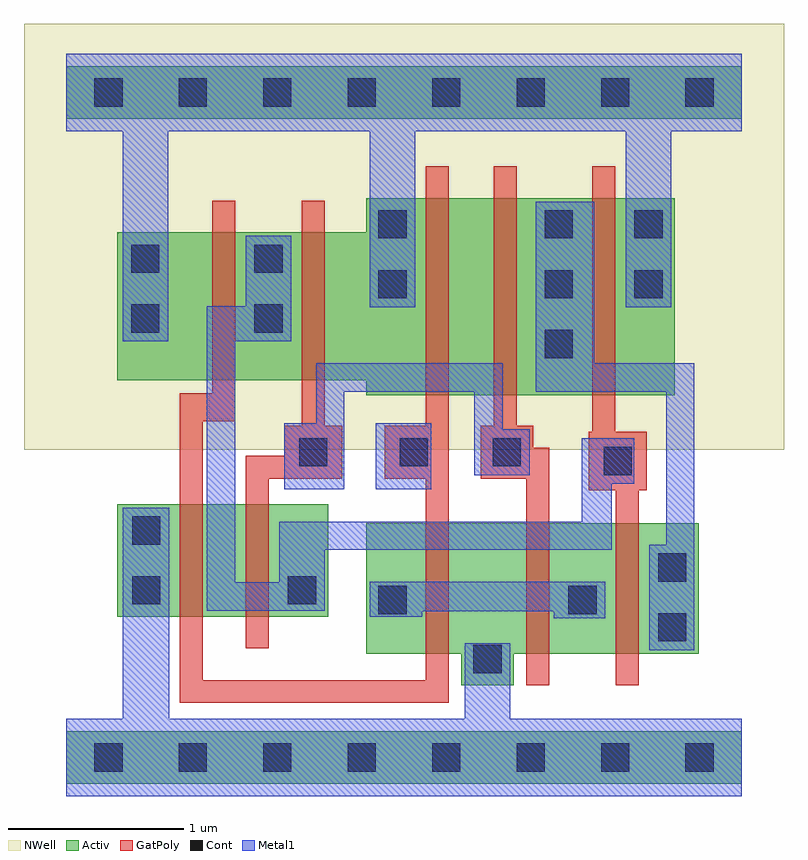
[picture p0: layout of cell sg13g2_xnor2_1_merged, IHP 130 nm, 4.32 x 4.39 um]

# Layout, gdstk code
import gdstk
lib = gdstk.Library(unit=1e-6, precision=1e-09)
def R(c, l, rs):  # rectangles x0, y0, x1, y1
    for r in rs: c.add(gdstk.rectangle(r[:2], r[2:], *l))
def A(c, l, x, y, w, h, nx, ny, dx, dy):  # array of equal rectangles
    R(c, l, [(x+i*dx, y+j*dy, x+i*dx+w, y+j*dy+h) for i in range(nx) for j in range(ny)])
def P(c, l, *ps):  # polygons
    for p in ps: c.add(gdstk.Polygon(p, *l))
Activ = (1, 0)
GatPoly = (5, 0)
Cont = (6, 0)
Metal1 = (8, 0)
NWell = (31, 0)

sg13g2_xnor2_1_merged = lib.new_cell('sg13g2_xnor2_1_merged')
R(sg13g2_xnor2_1_merged, Activ, [(0,-0.15,3.84,0.15), (0.29,0.8,1.49,1.44), (0,3.63,3.84,3.93)])
P(sg13g2_xnor2_1_merged, Activ, [(2.245,0.41),(2.245,0.59),(1.705,0.59),(1.705,1.33),(3.595,1.33),(3.595,0.59),(2.545,0.59),(2.545,0.41)],
  [(1.705,2.06),(1.705,2.145),(0.29,2.145),(0.29,2.985),(1.705,2.985),(1.705,3.18),(3.46,3.18),(3.46,2.06)])
P(sg13g2_xnor2_1_merged, GatPoly, [(1.02,0.62),(1.02,1.715),(1.24,1.715),(1.24,1.885),(1.34,1.885),(1.34,3.165),(1.47,3.165),(1.47,1.885),(1.57,1.885),(1.57,1.585),(1.15,1.585),(1.15,0.62)],
  [(0.645,0.31),(0.645,2.07),(0.83,2.07),(0.83,3.165),(0.96,3.165),(0.96,1.91),(0.775,1.91),(0.775,0.44),(2.045,0.44),(2.045,1.585),(1.81,1.585),(1.81,1.885),(2.045,1.885),(2.045,3.36),(2.175,3.36),(2.175,0.31)],
  [(2.615,0.41),(2.615,1.585),(2.355,1.585),(2.355,1.885),(2.43,1.885),(2.43,3.36),(2.56,3.36),(2.56,1.885),(2.655,1.885),(2.655,1.76),(2.745,1.76),(2.745,0.41)],
  [(3.125,0.41),(3.125,1.52),(2.97,1.52),(2.97,1.85),(2.99,1.85),(2.99,3.36),(3.12,3.36),(3.12,1.85),(3.3,1.85),(3.3,1.52),(3.255,1.52),(3.255,0.41)])
A(sg13g2_xnor2_1_merged, Cont, 0.16, -0.08, 0.16, 0.16, 8, 2, 0.48, 3.78)
A(sg13g2_xnor2_1_merged, Cont, 2.72, 2.27, 0.16, 0.16, 1, 3, 0, 0.34)
R(sg13g2_xnor2_1_merged, Cont, [(2.315,0.48,2.475,0.64), (3.365,0.66,3.525,0.82), (1.775,0.815,1.935,0.975), (2.855,0.815,3.015,0.975), (0.375,0.87,0.535,1.03), (1.26,0.87,1.42,1.03), (3.365,1,3.525,1.16), (0.375,1.21,0.535,1.37), (3.055,1.605,3.215,1.765), (1.325,1.655,1.485,1.815), (1.895,1.655,2.055,1.815), (2.425,1.655,2.585,1.815), (0.37,2.415,0.53,2.575), (1.07,2.415,1.23,2.575), (1.775,2.61,1.935,2.77), (3.23,2.61,3.39,2.77), (0.37,2.755,0.53,2.915), (1.07,2.755,1.23,2.915), (1.775,2.95,1.935,3.11), (3.23,2.95,3.39,3.11)])
R(sg13g2_xnor2_1_merged, Metal1, [(1.76,1.525,2.075,1.9)])
P(sg13g2_xnor2_1_merged, Metal1, [(2.77,0.79),(2.77,0.83),(2.025,0.83),(2.025,0.8),(1.725,0.8),(1.725,1),(3.065,1),(3.065,0.79)],
  [(0,-0.22),(0,0.22),(0.32,0.22),(0.32,1.42),(0.585,1.42),(0.585,0.22),(2.265,0.22),(2.265,0.65),(2.525,0.65),(2.525,0.22),(3.84,0.22),(3.84,-0.22)],
  [(1.24,1.525),(1.24,1.9),(1.42,1.9),(1.42,2.24),(2.48,2.24),(2.48,1.865),(2.635,1.865),(2.635,1.605),(2.32,1.605),(2.32,2.08),(1.58,2.08),(1.58,1.525)],
  [(0.8,0.835),(0.8,2.565),(1.02,2.565),(1.02,2.965),(1.28,2.965),(1.28,2.365),(0.96,2.365),(0.96,0.995),(1.21,0.995),(1.21,1.34),(2.93,1.34),(2.93,1.815),(3.23,1.815),(3.23,1.555),(3.1,1.555),(3.1,1.18),(1.47,1.18),(1.47,0.835)],
  [(3.315,0.61),(3.315,1.21),(3.41,1.21),(3.41,2.08),(2.67,2.08),(2.67,3.16),(3,3.16),(3,2.24),(3.57,2.24),(3.57,0.61)],
  [(0.32,2.365),(0.32,3.56),(0,3.56),(0,4),(3.84,4),(3.84,3.56),(3.44,3.56),(3.44,2.56),(3.18,2.56),(3.18,3.56),(1.985,3.56),(1.985,2.56),(1.725,2.56),(1.725,3.56),(0.58,3.56),(0.58,2.365)])
R(sg13g2_xnor2_1_merged, NWell, [(-0.24,1.75,4.08,4.17)])

lib.write_gds('sg13g2_xnor2_1_merged.gds')
